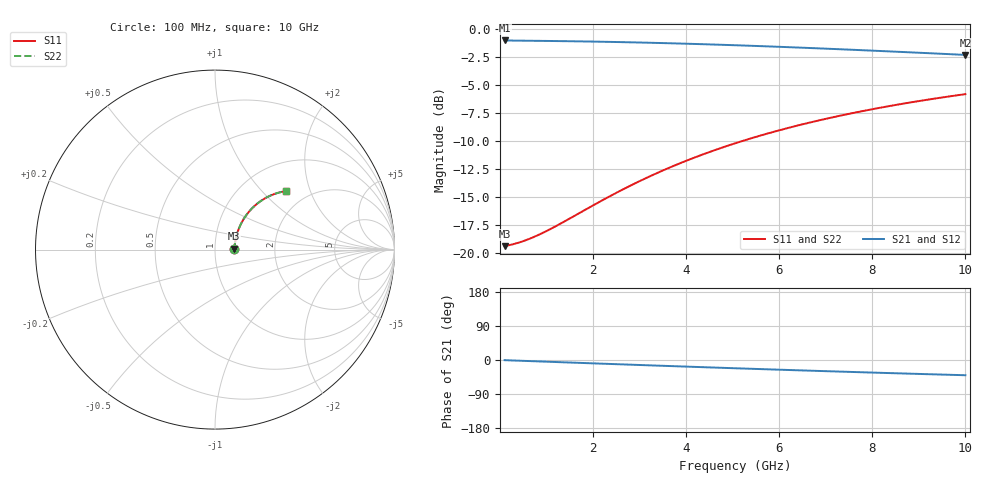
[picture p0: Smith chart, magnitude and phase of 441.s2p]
# Hz S RI R 50.00
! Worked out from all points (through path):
!   100 points, 100 MHz to 10 GHz, reference 50 ohm
!   highest |S21| = -0.98 dB at 100 MHz (marker M1); lowest = -2.3 dB at 10 GHz (marker M2)
!   group delay of S21, straight-line fit = 11.2 ps
!   lowest |S11| = -19.4 dB at 100 MHz (marker M3), VSWR 1.24, Z = 62 + j0.661 ohm
!   |S11| at or under -10 dB: start of sweep to 5.193 GHz
!   |S22| runs from -19.4 to -5.8 dB; largest |S21 - S12| = 0
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1e8  0.1072 0.00527  0.8928 -0.00694  0.8928 -0.00694  0.1072 0.00527
4e8  0.1093 0.021  0.8907 -0.0277  0.8907 -0.0277  0.1093 0.021
6e8  0.1107 0.0314  0.8893 -0.0414  0.8893 -0.0414  0.1107 0.0314
8e8  0.1123 0.0417  0.8876 -0.0551  0.8876 -0.0551  0.1123 0.0417
1e9  0.1141 0.052  0.8857 -0.0688  0.8857 -0.0688  0.1141 0.052
1.2e9  0.1162 0.0622  0.8835 -0.0823  0.8835 -0.0823  0.1162 0.0622
1.8e9  0.1242 0.0923  0.8753 -0.1224  0.8753 -0.1224  0.1242 0.0923
2.2e9  0.1309 0.1117  0.8683 -0.1486  0.8683 -0.1486  0.1309 0.1117
2.6e9  0.1387 0.1306  0.8602 -0.1742  0.8602 -0.1742  0.1387 0.1306
3e9  0.1476 0.1489  0.8511 -0.1992  0.8511 -0.1992  0.1476 0.1489
3.4e9  0.1574 0.1664  0.8409 -0.2235  0.8409 -0.2235  0.1574 0.1664
3.8e9  0.1681 0.1832  0.8297 -0.247  0.8297 -0.247  0.1681 0.1832
4.2e9  0.1797 0.1992  0.8176 -0.2698  0.8176 -0.2698  0.1797 0.1992
4.6e9  0.192 0.2143  0.8048 -0.2916  0.8048 -0.2916  0.192 0.2143
5.1e9  0.2084 0.2319  0.7876 -0.3177  0.7876 -0.3177  0.2084 0.2319
5.5e9  0.2222 0.2449  0.7732 -0.3375  0.7732 -0.3375  0.2222 0.2449
5.9e9  0.2366 0.257  0.7582 -0.3564  0.7582 -0.3564  0.2366 0.257
6.7e9  0.2665 0.2782  0.7267 -0.3913  0.7267 -0.3913  0.2665 0.2782
7.5e9  0.2976 0.2956  0.6939 -0.4224  0.6939 -0.4224  0.2976 0.2956
8.4e9  0.3333 0.3105  0.6559 -0.4529  0.6559 -0.4529  0.3333 0.3105
9.2e9  0.3652 0.32  0.6219 -0.4763  0.6219 -0.4763  0.3652 0.32
1e10  0.3967 0.3262  0.5879 -0.4964  0.5879 -0.4964  0.3967 0.3262
